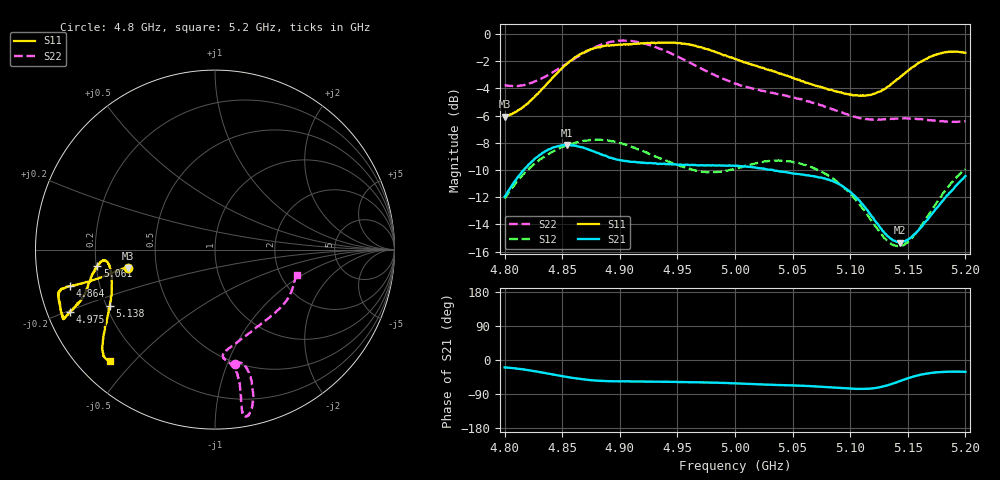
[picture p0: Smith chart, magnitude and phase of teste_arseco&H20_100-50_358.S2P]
! Network Analyzer HP8722D
! Hewlett-Packard
! Data name: Linha & Wilkinson
! Saver's name: Rodrigo Anjos
! Comments: Teste da utilização de aquisição
! continua pelo VNA HP8722D
! Time and date: 6/5/2025 15:33
!  Frequency  S11  S21  S12  S22
# HZ  S  MA R 50
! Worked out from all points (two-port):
!   401 points, 4.8 GHz to 5.2 GHz, reference 50 ohm
!   highest |S21| = -8.17 dB at 4.854 GHz (marker M1); lowest = -15.4 dB at 5.143 GHz (marker M2)
!   |S21| within 3 dB of the highest: 4.806 GHz to 5.093 GHz (286.8 MHz wide, 5.79 % of centre); 5.1917 GHz to end of sweep
!   lowest |S11| = -6.1 dB at 4.8 GHz (marker M3), VSWR 2.97, Z = 17 - j4.6 ohm
!   |S11| at or under -10 dB: nowhere
!   |S22| runs from -6.5 to -0.5 dB; largest |S21 - S12| = 0.62
!   S11 on the Smith chart (normalised r, x): 4.8 GHz: 0.34, -0.09; 4.864 GHz: 0.09, -0.12; 4.975 GHz: 0.07, -0.21; 5.061 GHz: 0.20, -0.07; 5.138 GHz: 0.21, -0.24; 5.2 GHz: 0.09, -0.43
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4.8e9  0.4962 -168.1  0.252 -19.6  0.2482 -140.8  0.6477 -80.3
4.828e9  0.5993 -167.0  0.3523 -30.5  0.3383 -144.7  0.6742 -75.4
4.854e9  0.7762 -165.7  0.3905 -44.9  0.3892 -149.7  0.7782 -74.7
4.864e9  0.8352 -165.8  0.3858 -49.3  0.4002 -151.3  0.8269 -75.2
4.867e9  0.8477 -165.8  0.3835 -50.6  0.4028 -151.9  0.8422 -75.3
4.886e9  0.9028 -164.8  0.3577 -55.1  0.4076 -155.1  0.9203 -77.5
4.901e9  0.9133 -162.3  0.3432 -56.2  0.3964 -156.6  0.9446 -79.2
4.934e9  0.9278 -156.3  0.3328 -57.4  0.3503 -155.6  0.8833 -80.4
4.951e9  0.9258 -155.4  0.3304 -58.1  0.329 -152.6  0.8228 -79.9
4.975e9  0.8803 -156.6  0.329 -59.3  0.3102 -145.1  0.73 -79.7
5e9  0.8093 -158.8  0.3276 -61.7  0.3195 -137.1  0.6565 -81.2
5.035e9  0.7256 -165.3  0.3142 -65.8  0.3422 -134.3  0.6042 -85.5
5.061e9  0.6624 -172.0  0.3031 -68.3  0.3298 -136.2  0.5695 -83.9
5.067e9  0.652 -172.8  0.3006 -69.1  0.3231 -136.7  0.5591 -82.6
5.086e9  0.6172 -174.3  0.286 -72.8  0.2918 -138.3  0.5264 -75.3
5.104e9  0.594 -171.2  0.2539 -76.0  0.2476 -138.4  0.4964 -64.7
5.134e9  0.644 -154.2  0.1786 -65.3  0.1707 -120.9  0.4874 -43.3
5.138e9  0.6671 -151.8  0.1738 -61.3  0.1671 -115.7  0.4865 -40.8
5.143e9  0.691 -149.3  0.1707 -56.0  0.166 -109.0  0.4886 -38.0
5.154e9  0.7541 -144.4  0.1806 -44.5  0.1786 -95.1  0.4882 -32.3
5.173e9  0.8351 -138.9  0.2232 -33.3  0.2326 -80.7  0.481 -24.2
5.2e9  0.8529 -133.5  0.3004 -31.2  0.3188 -76.8  0.4772 -17.5
